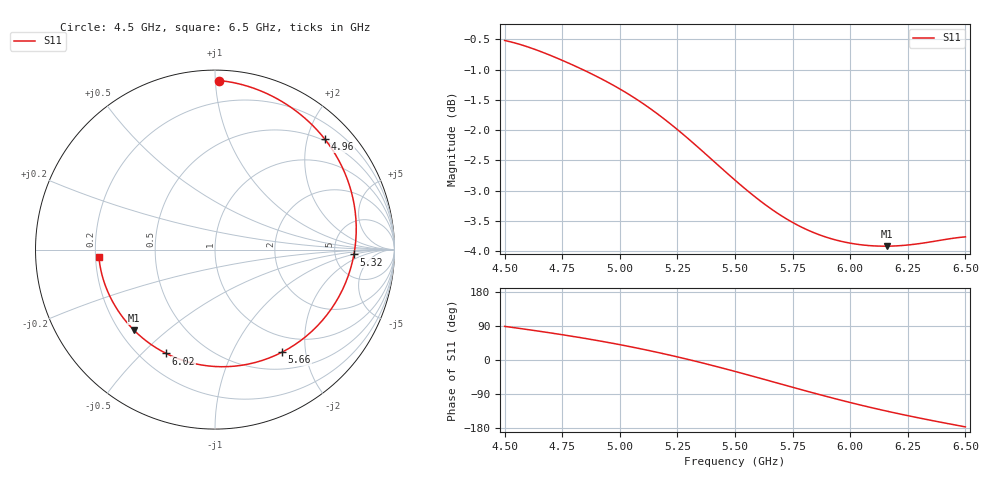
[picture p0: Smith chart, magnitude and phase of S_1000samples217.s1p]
! TOUCHSTONE file generated by CST MICROWAVE STUDIO
! Date and time: Thu Oct 27 10:04:39 2022
! Project name: L.cst
! Parameters = {Di=1.27; Epsilon_r=1.56; InnerDiameter=1.27; Length=2; Lf=10; Lg=60; OuterConductorThickness=0.2921; OuterDiameter=3.6; Wf=3; Wp=41.2; de=1.5; df=6.8; g=0.8; gx=4.37475; gy=2.62562; h=2.34; hf=1.524; px=12.6796; py=10.9141; w=9.7; wx=8.30487; wy=8.28846}
! Header version: 2018
! Port assignment regex: !\s*Touchstone port\s*([0-9]+)\s*=\s*(CST MWS port|CST DS port)\s*([0-9]+|Zmin|Zmax)\s*\(\"(.*)\"\)(\s*mode\s*([0-9]+))?.*
! Touchstone port assignment:
! Touchstone port 1 = CST MWS port 1 ("")
# GHz S DB R 50
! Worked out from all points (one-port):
!   101 points, 4.5 GHz to 6.5 GHz, reference 50 ohm
!   lowest |S11| = -3.9 dB at 6.16 GHz (marker M1), VSWR 4.51, Z = 12.9 - j19.5 ohm
!   |S11| at or under -10 dB: nowhere
!   S11 on the Smith chart (normalised r, x): 4.5 GHz: 0.06, +1.02; 4.96 GHz: 0.47, +2.33; 5.32 GHz: 7.73, -1.04; 5.66 GHz: 0.74, -1.59; 6.02 GHz: 0.30, -0.59; 6.5 GHz: 0.21, -0.03
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4.5  -0.52 88.8
4.62  -0.65 78.6
4.7  -0.77 71.4
4.76  -0.86 65.8
4.86  -1.04 55.8
4.96  -1.23 45.1
5  -1.32 40.5
5.08  -1.51 30.8
5.14  -1.67 23.2
5.2  -1.84 15.2
5.26  -2.02 6.8
5.32  -2.22 -2.0
5.4  -2.49 -14.2
5.5  -2.83 -30.1
5.58  -3.08 -43.3
5.66  -3.31 -56.8
5.72  -3.46 -66.9
5.76  -3.55 -73.6
5.82  -3.66 -83.6
5.88  -3.75 -93.4
5.94  -3.82 -102.9
6  -3.87 -112.2
6.02  -3.88 -115.2
6.1  -3.92 -126.8
6.16  -3.92 -135.1
6.26  -3.90 -148.1
6.38  -3.83 -162.7
6.5  -3.77 -176.5
